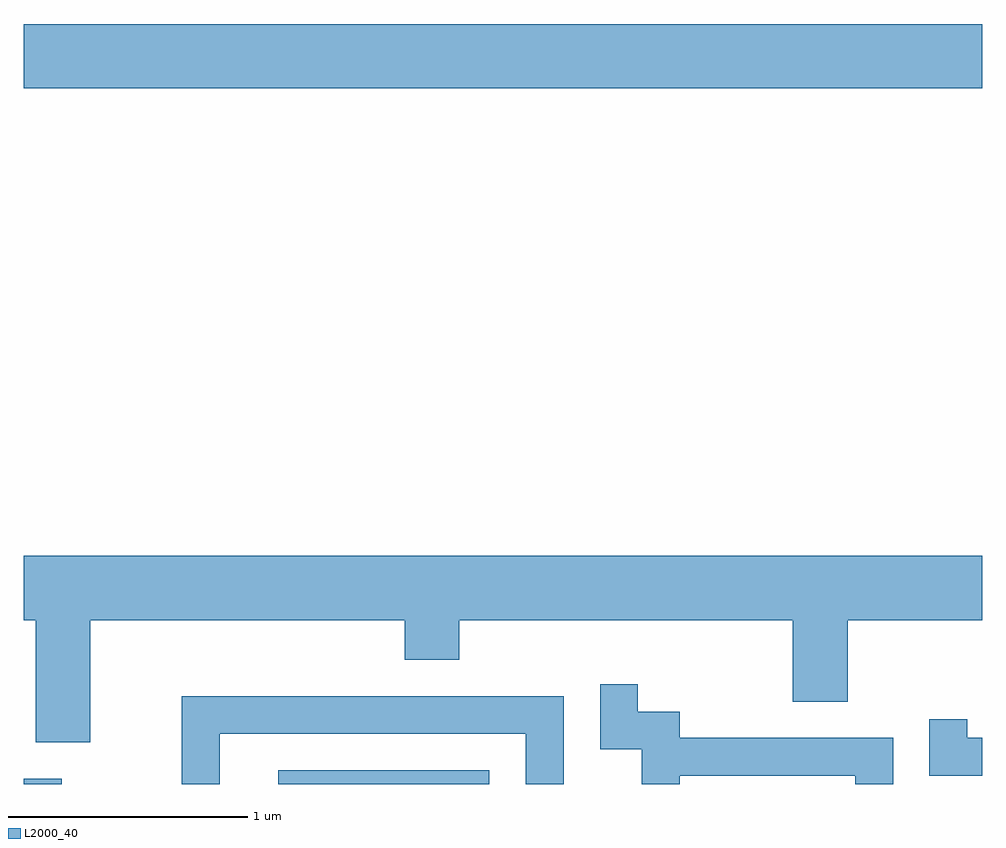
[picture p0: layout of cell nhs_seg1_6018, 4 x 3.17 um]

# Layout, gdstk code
import gdstk
lib = gdstk.Library(unit=1e-6, precision=1e-09)
def R(c, l, rs):  # rectangles x0, y0, x1, y1
    for r in rs: c.add(gdstk.rectangle(r[:2], r[2:], *l))
def P(c, l, *ps):  # polygons
    for p in ps: c.add(gdstk.Polygon(p, *l))
L2000_40 = (2000, 40)

nhs_seg1_6018 = lib.new_cell('nhs_seg1_6018')
R(nhs_seg1_6018, L2000_40, [(365.611,967.712,365.769,967.734), (366.673,967.712,367.554,967.769), (365.611,970.616,369.611,970.884)])
P(nhs_seg1_6018, L2000_40, [(365.889,968.396),(367.201,968.396),(367.201,968.231),(367.429,968.231),(367.429,968.396),(368.821,968.396),(368.821,968.056),(369.049,968.056),(369.049,968.396),(369.611,968.396),(369.611,968.664),(365.611,968.664),(365.611,968.396),(365.661,968.396),(365.661,967.886),(365.889,967.886)],
  [(368.349,967.746),(369.081,967.746),(369.081,967.712),(369.239,967.712),(369.239,967.904),(368.349,967.904),(368.349,968.014),(368.174,968.014),(368.174,968.128),(368.016,968.128),(368.016,967.856),(368.191,967.856),(368.191,967.712),(368.349,967.712)],
  [(366.429,967.921),(367.706,967.921),(367.706,967.712),(367.864,967.712),(367.864,968.079),(366.271,968.079),(366.271,967.712),(366.429,967.712)],
  [(369.611,967.904),(369.549,967.904),(369.549,967.983),(369.391,967.983),(369.391,967.746),(369.611,967.746)])

lib.write_gds('nhs_seg1_6018.gds')
